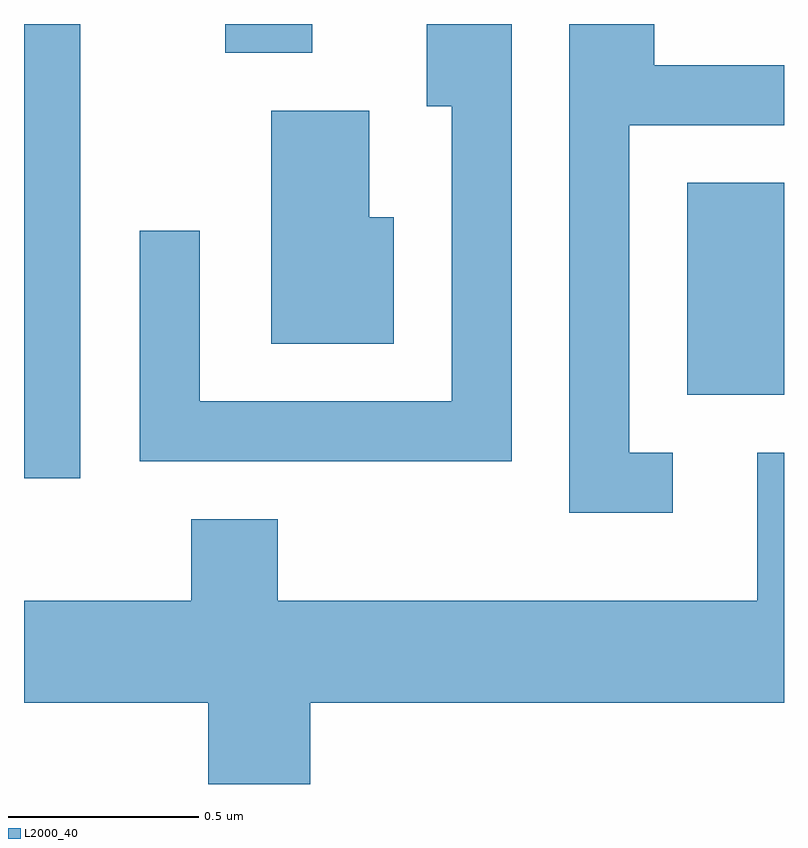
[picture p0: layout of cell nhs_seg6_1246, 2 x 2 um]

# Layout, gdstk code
import gdstk
lib = gdstk.Library(unit=1e-6, precision=1e-09)
def R(c, l, rs):  # rectangles x0, y0, x1, y1
    for r in rs: c.add(gdstk.rectangle(r[:2], r[2:], *l))
def P(c, l, *ps):  # polygons
    for p in ps: c.add(gdstk.Polygon(p, *l))
L2000_40 = (2000, 40)

nhs_seg6_1246 = lib.new_cell('nhs_seg6_1246')
R(nhs_seg6_1246, L2000_40, [(194.611,1543.966,194.759,1545.162), (196.356,1544.186,196.611,1544.744), (195.141,1545.086,195.369,1545.162)])
P(nhs_seg6_1246, L2000_40, [(196.318,1544.034),(196.204,1544.034),(196.204,1544.896),(196.611,1544.896),(196.611,1545.054),(196.269,1545.054),(196.269,1545.162),(196.046,1545.162),(196.046,1543.876),(196.318,1543.876)],
  [(195.894,1545.162),(195.671,1545.162),(195.671,1544.946),(195.736,1544.946),(195.736,1544.169),(195.074,1544.169),(195.074,1544.618),(194.916,1544.618),(194.916,1544.011),(195.894,1544.011)],
  [(195.584,1544.654),(195.519,1544.654),(195.519,1544.934),(195.261,1544.934),(195.261,1544.321),(195.584,1544.321)],
  [(195.364,1543.376),(196.611,1543.376),(196.611,1544.034),(196.541,1544.034),(196.541,1543.644),(195.279,1543.644),(195.279,1543.859),(195.051,1543.859),(195.051,1543.644),(194.611,1543.644),(194.611,1543.376),(195.096,1543.376),(195.096,1543.162),(195.364,1543.162)])

lib.write_gds('nhs_seg6_1246.gds')
